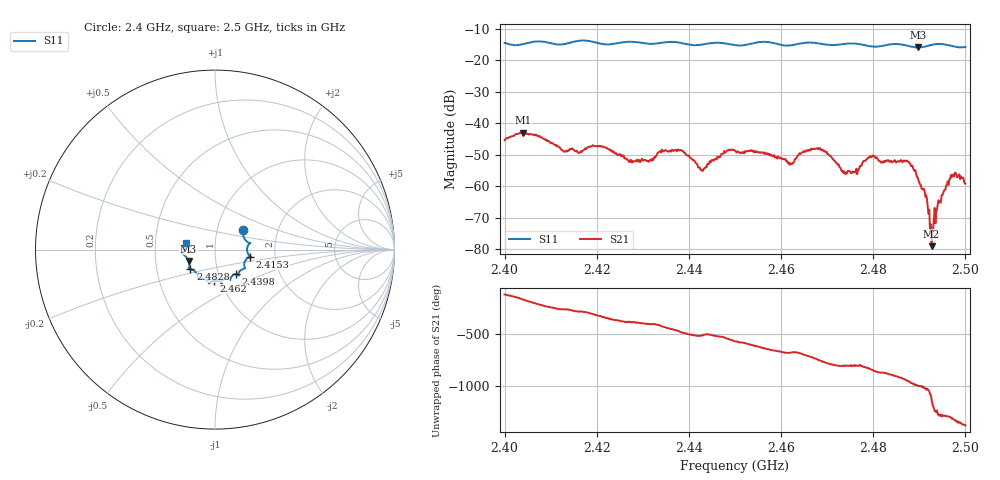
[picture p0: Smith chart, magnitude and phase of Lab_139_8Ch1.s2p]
# Hz S RI R 50
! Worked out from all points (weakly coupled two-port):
!   601 points, 2.4 GHz to 2.5 GHz, reference 50 ohm
!   highest |S21| = -42.95 dB at 2.404 GHz (marker M1); lowest = -79.0 dB at 2.4927 GHz (marker M2)
!   lowest |S11| = -15.9 dB at 2.4897 GHz (marker M3), VSWR 1.38, Z = 36.9 - j4.82 ohm
!   |S11| at or under -10 dB: start of sweep to end of sweep
!   S12 and S22 are empty: the file has one direction only
!   S11 on the Smith chart (normalised r, x): 2.4 GHz: 1.33, +0.30; 2.4153 GHz: 1.48, -0.12; 2.4398 GHz: 1.21, -0.34; 2.462 GHz: 0.93, -0.33; 2.4828 GHz: 0.74, -0.17; 2.5 GHz: 0.72, +0.06
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2.4e9  0.1558 0.1073  -0.00227 -0.00489  0 0  0 0
2.404e9  0.1747 0.0473  -0.00682 -0.00205  0 0  0 0
2.415333e9  0.1962 -0.039  0.000494 0.00357  0 0  0 0
2.416667e9  0.2022 -0.0429  0.000581 0.00345  0 0  0 0
2.421e9  0.1754 -0.0531  0.00359 0.00231  0 0  0 0
2.4275e9  0.1681 -0.1033  0.00231 -0.00107  0 0  0 0
2.433333e9  0.1308 -0.1335  0.00215 -0.00266  0 0  0 0
2.439833e9  0.1158 -0.1364  -0.00237 -0.00192  0 0  0 0
2.443e9  0.0891 -0.1551  -0.00155 -0.000805  0 0  0 0
2.45e9  0.065 -0.1621  -0.00322 0.00181  0 0  0 0
2.462e9  -0.00477 -0.1727  0.00178 0.00151  0 0  0 0
2.466667e9  -0.0339 -0.1884  0.00383 -0.000345  0 0  0 0
2.473833e9  -0.0872 -0.1608  1.32e-05 -0.00158  0 0  0 0
2.479667e9  -0.1075 -0.1272  -0.00172 -0.00235  0 0  0 0
2.482833e9  -0.1365 -0.1091  -0.00241 -0.000853  0 0  0 0
2.483333e9  -0.1403 -0.1089  -0.00253 -0.000403  0 0  0 0
2.4875e9  -0.1427 -0.0926  -0.00135 0.00206  0 0  0 0
2.489667e9  -0.147 -0.0636  0.000304 0.00135  0 0  0 0
2.491333e9  -0.1611 -0.0411  0.000453 0.000508  0 0  0 0
2.492667e9  -0.1738 -0.029  5.92e-05 -9.49e-05  0 0  0 0
2.497e9  -0.1697 -0.00723  -0.000691 0.00121  0 0  0 0
2.5e9  -0.1591 0.0387  0.000687 0.000855  0 0  0 0
